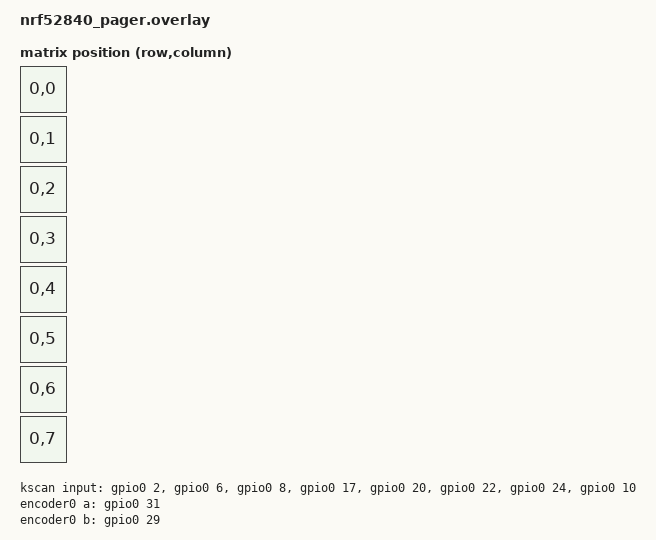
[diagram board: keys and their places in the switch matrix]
#include <dt-bindings/zmk/matrix_transform.h>

#include "nrf52840_pager-layouts.dtsi"

/ {
    chosen {
        zmk,physical-layout = &default_layout;
    };

    kscan: kscan {
        compatible = "zmk,kscan-gpio-direct";
        wakeup-source;

        input-gpios =
            <&gpio0 2  (GPIO_ACTIVE_LOW | GPIO_PULL_UP)>,   // HOME
            <&gpio0 6  (GPIO_ACTIVE_LOW | GPIO_PULL_UP)>,   // PGUP
            <&gpio0 8  (GPIO_ACTIVE_LOW | GPIO_PULL_UP)>,   // LEFT
            <&gpio0 17 (GPIO_ACTIVE_LOW | GPIO_PULL_UP)>,   // UP
            <&gpio0 20 (GPIO_ACTIVE_LOW | GPIO_PULL_UP)>,   // DOWN
            <&gpio0 22 (GPIO_ACTIVE_LOW | GPIO_PULL_UP)>,   // RIGHT
            <&gpio0 24 (GPIO_ACTIVE_LOW | GPIO_PULL_UP)>,   // PGDN
            <&gpio0 10 (GPIO_ACTIVE_LOW | GPIO_PULL_UP)>;   // ENC_SW
    };

    default_transform: default_transform {
        compatible = "zmk,matrix-transform";
        rows = <1>;
        columns = <8>;

        map = <
            RC(0,0)
            RC(0,1)
            RC(0,2)
            RC(0,3)
            RC(0,4)
            RC(0,5)
            RC(0,6)
            RC(0,7)
        >;
    };

    encoder0: encoder0 {
        compatible = "alps,ec11";

        a-gpios = <&gpio0 31 (GPIO_ACTIVE_LOW | GPIO_PULL_UP)>;
        b-gpios = <&gpio0 29 (GPIO_ACTIVE_LOW | GPIO_PULL_UP)>;

        steps = <4>;
        status = "okay";
    };
};
